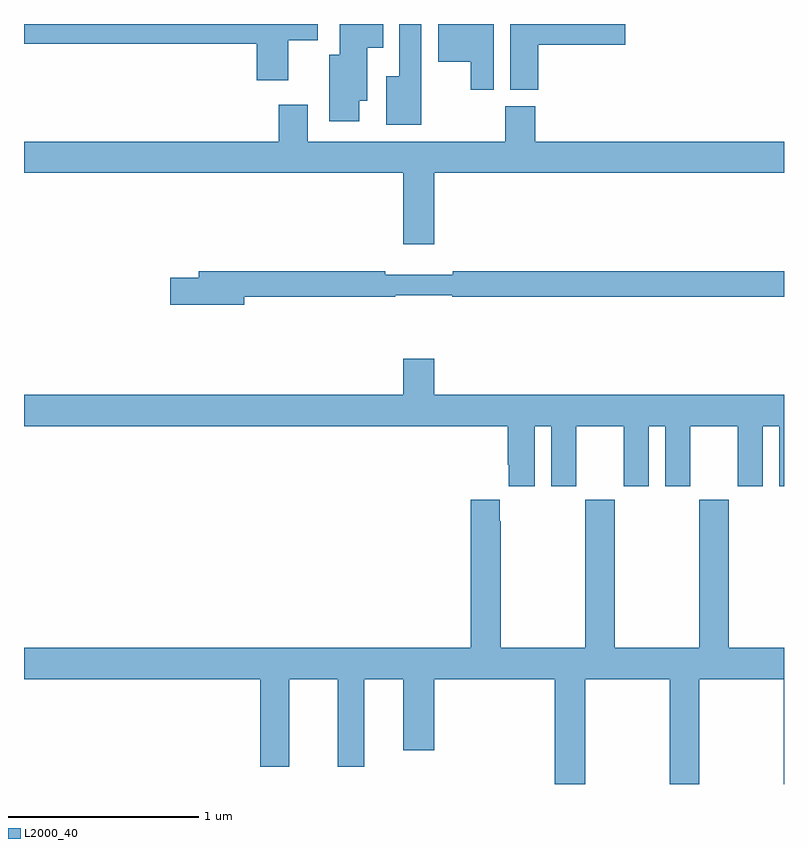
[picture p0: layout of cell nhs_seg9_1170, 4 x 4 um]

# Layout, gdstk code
import gdstk
lib = gdstk.Library(unit=1e-6, precision=1e-09)
def P(c, l, *ps):  # polygons
    for p in ps: c.add(gdstk.Polygon(p, *l))
L2000_40 = (2000, 40)

nhs_seg9_1170 = lib.new_cell('nhs_seg9_1170')
P(nhs_seg9_1170, L2000_40, [(177.707,1234.391),(178.165,1234.391),(178.165,1234.5),(177.56,1234.5),(177.56,1234.153),(177.707,1234.153)],
  [(177.472,1234.5),(177.179,1234.5),(177.179,1234.301),(177.35,1234.301),(177.35,1234.155),(177.472,1234.155)],
  [(176.764,1234.097),(176.806,1234.097),(176.806,1234.376),(176.89,1234.376),(176.89,1234.5),(176.663,1234.5),(176.663,1234.339),(176.606,1234.339),(176.606,1233.987),(176.764,1233.987)],
  [(177.091,1234.5),(176.979,1234.5),(176.979,1234.499),(176.975,1234.499),(176.975,1234.225),(176.906,1234.225),(176.906,1233.971),(177.091,1233.971)],
  [(176.392,1234.414),(176.545,1234.414),(176.545,1234.5),(175,1234.5),(175,1234.396),(176.225,1234.396),(176.225,1234.203),(176.392,1234.203)],
  [(177.16,1233.716),(179,1233.716),(179,1233.88),(177.692,1233.88),(177.692,1234.068),(177.532,1234.068),(177.532,1233.88),(176.494,1233.88),(176.494,1234.075),(176.342,1234.075),(176.342,1233.88),(175,1233.88),(175,1233.716),(176.996,1233.716),(176.996,1233.342),(177.16,1233.342)],
  [(176.158,1233.064),(176.954,1233.064),(176.954,1233.072),(177.254,1233.072),(177.254,1233.064),(179,1233.064),(179,1233.2),(177.256,1233.2),(177.256,1233.181),(176.9,1233.181),(176.9,1233.2),(175.919,1233.2),(175.919,1233.164),(175.77,1233.164),(175.77,1233.022),(176.158,1233.022)],
  [(177.688,1232.384),(177.776,1232.384),(177.776,1232.067),(177.907,1232.067),(177.907,1232.384),(178.157,1232.384),(178.157,1232.067),(178.288,1232.067),(178.288,1232.384),(178.376,1232.384),(178.376,1232.067),(178.507,1232.067),(178.507,1232.384),(178.757,1232.384),(178.757,1232.067),(178.888,1232.067),(178.888,1232.384),(178.976,1232.384),(178.976,1232.067),(179,1232.067),(179,1232.548),(177.16,1232.548),(177.16,1232.737),(176.996,1232.737),(176.996,1232.548),(175,1232.548),(175,1232.384),(177.545,1232.384),(177.545,1232.179),(177.551,1232.179),(177.551,1232.067),(177.688,1232.067)],
  [(177.954,1231.052),(178.399,1231.052),(178.399,1230.5),(178.554,1230.5),(178.554,1231.052),(178.999,1231.052),(178.999,1230.5),(179,1230.5),(179,1231.216),(178.71,1231.216),(178.71,1231.996),(178.555,1231.996),(178.555,1231.216),(178.11,1231.216),(178.11,1231.996),(177.955,1231.996),(177.955,1231.216),(177.51,1231.216),(177.51,1231.883),(177.505,1231.883),(177.505,1231.996),(177.35,1231.996),(177.35,1231.216),(175,1231.216),(175,1231.052),(176.243,1231.052),(176.243,1230.591),(176.395,1230.591),(176.395,1231.052),(176.651,1231.052),(176.651,1230.591),(176.791,1230.591),(176.791,1231.052),(176.996,1231.052),(176.996,1230.678),(177.16,1230.678),(177.16,1231.052),(177.794,1231.052),(177.794,1230.5),(177.954,1230.5)])

lib.write_gds('nhs_seg9_1170.gds')
